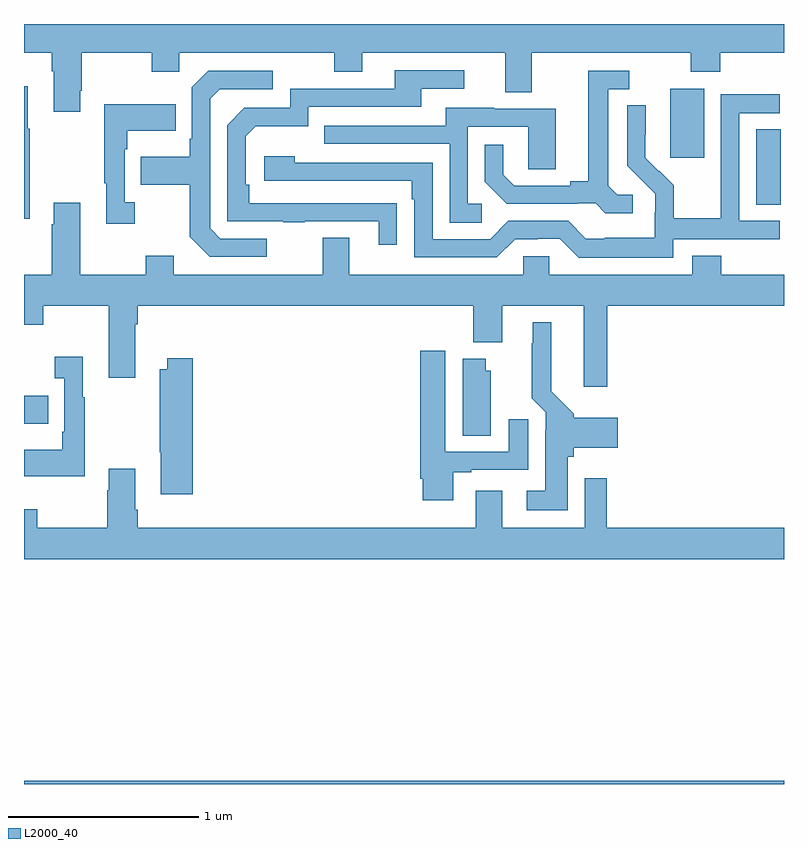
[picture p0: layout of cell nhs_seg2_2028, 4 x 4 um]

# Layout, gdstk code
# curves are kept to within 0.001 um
import gdstk
lib = gdstk.Library(unit=1e-6, precision=1e-09)
def R(c, l, rs):  # rectangles x0, y0, x1, y1
    for r in rs: c.add(gdstk.rectangle(r[:2], r[2:], *l))
def P(c, l, *ps):  # polygons
    for p in ps: c.add(gdstk.Polygon(p, *l))
L2000_40 = (2000, 40)

nhs_seg2_2028 = lib.new_cell('nhs_seg2_2028')
R(nhs_seg2_2028, L2000_40, [(217,631.8,221,631.816), (217,633.695,217.127,633.843), (220.853,634.849,220.984,635.246), (220.4,635.097,220.579,635.458)])
P(nhs_seg2_2028, L2000_40, [(217.297,635.449),(217.305,635.449),(217.305,635.648),(217.672,635.648),(217.672,635.549),(217.818,635.549),(217.818,635.648),(218.632,635.648),(218.632,635.549),(218.779,635.549),(218.779,635.648),(219.533,635.648),(219.533,635.44),(219.673,635.44),(219.673,635.648),(220.51,635.648),(220.51,635.549),(220.665,635.549),(220.665,635.648),(221,635.648),(221,635.8),(217,635.8),(217,635.648),(217.145,635.648),(217.145,635.552),(217.157,635.552),(217.157,635.337),(217.297,635.337)],
  [(218.963,634.856),(218.186,634.857),(218.186,634.954),(218.166,634.954),(218.166,635.208),(218.219,635.261),(218.496,635.261),(218.496,635.364),(219.091,635.364),(219.091,635.46),(219.316,635.46),(219.316,635.556),(218.951,635.556),(218.951,635.46),(218.4,635.46),(218.4,635.358),(218.16,635.358),(218.07,635.268),(218.07,634.761),(218.365,634.761),(218.365,634.756),(218.477,634.756),(218.477,634.761),(218.867,634.761),(218.867,634.638),(218.963,634.638)],
  [(218.278,634.671),(218.034,634.671),(217.98,634.725),(217.98,635.406),(218.031,635.457),(218.308,635.457),(218.308,635.553),(217.971,635.553),(217.884,635.466),(217.884,635.197),(217.872,635.197),(217.872,635.101),(217.615,635.101),(217.615,634.954),(217.872,634.954),(217.872,634.681),(217.977,634.575),(218.278,634.575)],
  [(220.204,634.902),(220.122,634.902),(220.075,634.949),(220.075,635.457),(220.186,635.457),(220.186,635.553),(219.971,635.553),(219.971,634.973),(219.875,634.973),(219.875,634.95),(219.58,634.95),(219.523,635.007),(219.523,635.164),(219.426,635.164),(219.426,634.97),(219.542,634.854),(219.914,634.854),(219.914,634.857),(220.008,634.857),(220.06,634.805),(220.204,634.805)],
  [(217.029,635.249),(217.021,635.249),(217.021,635.473),(217,635.473),(217,634.774),(217.029,634.774)],
  [(220.416,634.668),(220.978,634.668),(220.978,634.764),(220.764,634.764),(220.764,635.331),(220.978,635.331),(220.978,635.43),(220.668,635.43),(220.668,635),(220.666,635),(220.666,634.777),(220.421,634.777),(220.421,634.951),(220.344,635.028),(220.341,635.025),(220.271,635.096),(220.272,635.372),(220.176,635.372),(220.176,635.054),(220.322,634.906),(220.322,634.809),(220.32,634.809),(220.32,634.675),(220.057,634.675),(220.057,634.671),(219.957,634.671),(219.864,634.764),(219.549,634.764),(219.453,634.668),(219.15,634.668),(219.15,635.07),(218.426,635.07),(218.426,635.104),(218.265,635.104),(218.265,634.974),(219.041,634.974),(219.041,634.877),(219.054,634.877),(219.054,634.572),(219.489,634.572),(219.585,634.668),(219.704,634.668),(219.704,634.671),(219.819,634.671),(219.919,634.571),(220.416,634.571)],
  [(217.582,634.862),(217.53,634.862),(217.53,635.141),(217.543,635.141),(217.543,635.237),(217.799,635.237),(217.799,635.377),(217.422,635.377),(217.422,634.961),(217.433,634.961),(217.433,634.749),(217.582,634.749)],
  [(219.409,634.854),(219.336,634.854),(219.336,635.259),(219.654,635.259),(219.654,635.035),(219.799,635.035),(219.799,635.355),(219.475,635.355),(219.475,635.359),(219.221,635.359),(219.221,635.265),(218.581,635.265),(218.581,635.169),(219.24,635.169),(219.24,634.753),(219.409,634.753)],
  [(220.07,634.316),(221,634.316),(221,634.48),(220.67,634.48),(220.67,634.579),(220.517,634.579),(220.517,634.48),(219.765,634.48),(219.765,634.578),(219.627,634.578),(219.627,634.48),(218.713,634.48),(218.713,634.675),(218.573,634.675),(218.573,634.48),(217.789,634.48),(217.789,634.579),(217.642,634.579),(217.642,634.48),(217.297,634.48),(217.297,634.858),(217.157,634.858),(217.157,634.745),(217.145,634.745),(217.145,634.48),(217,634.48),(217,634.217),(217.101,634.217),(217.101,634.316),(217.445,634.316),(217.445,633.939),(217.585,633.939),(217.585,634.22),(217.598,634.22),(217.598,634.316),(219.365,634.316),(219.365,634.124),(219.517,634.124),(219.517,634.316),(219.947,634.316),(219.947,633.891),(220.07,633.891)],
  [(219.862,633.522),(219.893,633.522),(219.893,633.569),(220.126,633.569),(220.126,633.727),(219.893,633.727),(219.893,633.75),(219.775,633.868),(219.775,634.231),(219.677,634.231),(219.677,634.121),(219.673,634.121),(219.673,633.83),(219.747,633.756),(219.747,633.662),(219.743,633.662),(219.743,633.343),(219.645,633.343),(219.645,633.242),(219.862,633.242)],
  [(219.259,633.441),(219.355,633.441),(219.355,633.453),(219.655,633.453),(219.655,633.721),(219.551,633.721),(219.551,633.549),(219.217,633.549),(219.217,634.081),(219.086,634.081),(219.086,633.406),(219.098,633.406),(219.098,633.294),(219.259,633.294)],
  [(217.321,633.835),(217.309,633.835),(217.309,634.048),(217.161,634.048),(217.161,633.935),(217.212,633.935),(217.212,633.655),(217.2,633.655),(217.2,633.559),(217,633.559),(217,633.419),(217.321,633.419)],
  [(217.889,634.042),(217.754,634.042),(217.754,633.982),(217.714,633.982),(217.714,633.547),(217.721,633.547),(217.721,633.324),(217.889,633.324)],
  [(219.457,633.975),(219.43,633.975),(219.43,634.039),(219.308,634.039),(219.308,633.634),(219.457,633.634)],
  [(221,633.148),(220.067,633.148),(220.067,633.409),(219.951,633.409),(219.951,633.148),(219.517,633.148),(219.517,633.343),(219.377,633.343),(219.377,633.148),(217.598,633.148),(217.598,633.244),(217.585,633.244),(217.585,633.46),(217.445,633.46),(217.445,633.347),(217.438,633.347),(217.438,633.148),(217.071,633.148),(217.071,633.247),(217,633.247),(217,632.984),(221,632.984)])

lib.write_gds('nhs_seg2_2028.gds')
